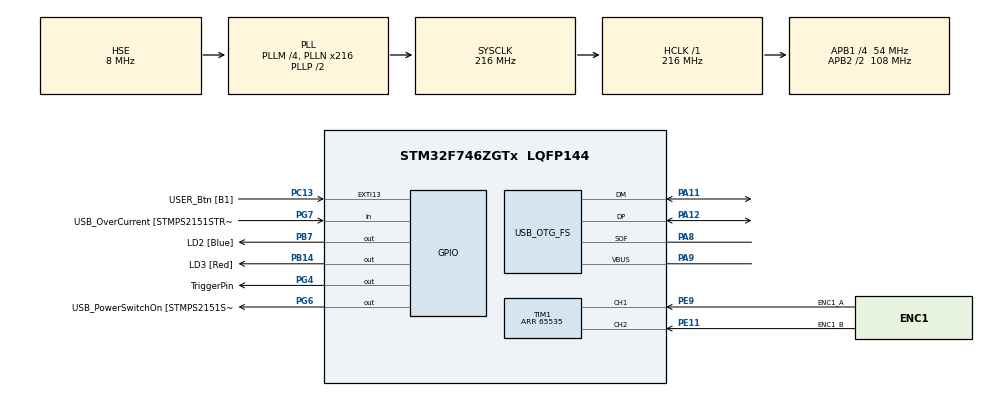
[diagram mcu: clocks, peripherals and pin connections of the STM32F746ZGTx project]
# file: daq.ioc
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Mcu.Family=STM32F7
Mcu.Name=STM32F746ZGTx
Mcu.Package=LQFP144
NVIC.OTG_FS_IRQn=true\:0\:0\:false\:false\:true\:false\:true
NVIC.PriorityGroup=NVIC_PRIORITYGROUP_4
NVIC.TIM1_UP_TIM10_IRQn=true\:0\:0\:false\:false\:true\:true\:true
NVIC.TIM2_IRQn=true\:0\:0\:false\:false\:true\:true\:true
PA1.GPIO_Label=RMII_REF_CLK [LAN8742A-CZ-TR_REFCLK0]
PA1.Signal=ETH_REF_CLK
PA10.GPIO_Label=USB_ID
PA10.Signal=USB_OTG_FS_ID
PA11.GPIO_Mode=GPIO_MODE_AF_PP
PA11.GPIO_PuPd=GPIO_NOPULL
PA11.GPIO_Speed=GPIO_SPEED_FREQ_VERY_HIGH
PA11.Mode=Device_Only
PA11.Signal=USB_OTG_FS_DM
PA12.GPIO_Mode=GPIO_MODE_AF_PP
PA12.GPIO_PuPd=GPIO_NOPULL
PA12.GPIO_Speed=GPIO_SPEED_FREQ_VERY_HIGH
PA12.Mode=Device_Only
PA12.Signal=USB_OTG_FS_DP
PA13.GPIO_Label=TMS
PA13.Mode=Serial_Wire
PA13.Signal=SYS_JTMS-SWDIO
PA14.GPIO_Label=TCK
PA14.Mode=Serial_Wire
PA14.Signal=SYS_JTCK-SWCLK
PA2.GPIO_Label=RMII_MDIO [LAN8742A-CZ-TR_MDIO]
PA2.Signal=ETH_MDIO
PA7.GPIO_Label=RMII_CRS_DV [LAN8742A-CZ-TR_CRS_DV]
PA7.Signal=ETH_CRS_DV
PA8.GPIO_Mode=GPIO_MODE_AF_PP
PA8.GPIO_PuPd=GPIO_NOPULL
PA8.GPIO_Speed=GPIO_SPEED_FREQ_VERY_HIGH
PA8.Mode=Activate_SOF_FS
PA8.Signal=USB_OTG_FS_SOF
PA9.GPIO_Mode=GPIO_MODE_INPUT
PA9.GPIO_PuPd=GPIO_NOPULL
PA9.Mode=Activate_VBUS
PA9.Signal=USB_OTG_FS_VBUS
PB13.GPIO_Label=RMII_TXD1 [LAN8742A-CZ-TR_TXD1]
PB13.Signal=ETH_TXD1
PB14.GPIO_Label=LD3 [Red]
PB14.Signal=GPIO_Output
PB3.GPIO_Label=SW0
PB3.Signal=SYS_JTDO-SWO
PB7.GPIO_Label=LD2 [Blue]
PB7.Signal=GPIO_Output
PC1.GPIO_Label=RMII_MDC [LAN8742A-CZ-TR_MDC]
PC1.Signal=ETH_MDC
PC13.GPIO_Label=USER_Btn [B1]
PC13.Signal=GPXTI13
PC14/OSC32_IN.Mode=LSE-External-Oscillator
PC14/OSC32_IN.Signal=RCC_OSC32_IN
PC15/OSC32_OUT.Mode=LSE-External-Oscillator
PC15/OSC32_OUT.Signal=RCC_OSC32_OUT
PC4.GPIO_Label=RMII_RXD0 [LAN8742A-CZ-TR_RXD0]
PC4.Signal=ETH_RXD0
PC5.GPIO_Label=RMII_RXD1 [LAN8742A-CZ-TR_RXD1]
PC5.Signal=ETH_RXD1
PD8.GPIO_Label=STLK_RX [STM32F103CBT6_PA3]
PD8.Signal=USART3_TX
PD9.GPIO_Label=STLK_TX [STM32F103CBT6_PA2]
PD9.Signal=USART3_RX
PE11.GPIO_Label=ENC1_B
PE11.Signal=S_TIM1_CH2
PE9.GPIO_Label=ENC1_A
PE9.Signal=S_TIM1_CH1
PG11.GPIO_Label=RMII_TX_EN [LAN8742A-CZ-TR_TXEN]
PG11.Signal=ETH_TX_EN
PG13.GPIO_Label=RMII_TXD0 [LAN8742A-CZ-TR_TXD0]
PG13.Signal=ETH_TXD0
PG4.GPIO_Label=TriggerPin
PG4.Signal=GPIO_Output
PG6.GPIO_Label=USB_PowerSwitchOn [STMPS2151STR_EN]
PG6.Signal=GPIO_Output
PG7.GPIO_Label=USB_OverCurrent [STMPS2151STR_FAULT]
PG7.Signal=GPIO_Input
PH0/OSC_IN.GPIO_Label=MCO [STM32F103CBT6_PA8]
PH0/OSC_IN.Mode=HSE-External-Clock-Source
PH0/OSC_IN.Signal=RCC_OSC_IN
PH1/OSC_OUT.Mode=HSE-External-Clock-Source
PH1/OSC_OUT.Signal=RCC_OSC_OUT
ProjectManager.HeapSize=0x1000
ProjectManager.StackSize=0x400
ProjectManager.TargetToolchain=MDK-ARM V5
RCC.48MHZClocksFreq_Value=24000000
RCC.AHBFreq_Value=216000000
RCC.APB1CLKDivider=RCC_HCLK_DIV4
RCC.APB1Freq_Value=54000000
RCC.APB1TimFreq_Value=108000000
RCC.APB2CLKDivider=RCC_HCLK_DIV2
RCC.APB2Freq_Value=108000000
RCC.APB2TimFreq_Value=216000000
RCC.CortexFreq_Value=216000000
RCC.HCLKFreq_Value=216000000
RCC.HSE_VALUE=8000000
RCC.HSI_VALUE=16000000
RCC.PLLM=4
RCC.PLLMUL=RCC_PLL_MUL9
RCC.PLLN=216
RCC.PLLQ=9
RCC.PRESCALERUSB=RCC_USBCLKSOURCE_PLL_DIV1_5
RCC.SYSCLKFreq_VALUE=216000000
RCC.SYSCLKSource=RCC_SYSCLKSOURCE_PLLCLK
RCC.SYSCLKSourceVirtual=RCC_SYSCLKSOURCE_PLLCLK
RCC.USBFreq_Value=48000000
RCC.VCOOutputFreq_Value=432000000
SH.S_TIM1_CH1.0=TIM1_CH1,Encoder_Interface
SH.S_TIM1_CH2.0=TIM1_CH2,Encoder_Interface
TIM1.EncoderMode=TIM_ENCODERMODE_TI12
TIM1.Period=65535
TIM2.Period=999
TIM2.Prescaler=215
USB_DEVICE.CLASS_NAME_FS=CDC
USB_DEVICE.PRODUCT_STRING_CDC_FS=STM32 Virtual ComPort
USB_DEVICE.VirtualMode-CDC_FS=Cdc
USB_DEVICE.VirtualModeFS=Cdc_FS
USB_OTG_FS.VirtualMode=Device_Only
VP_TIM2_VS_ClockSourceINT.Mode=Internal
VP_USB_DEVICE_VS_USB_DEVICE_CDC_FS.Mode=CDC_FS
board=NUCLEO-F746ZG

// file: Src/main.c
/* USER CODE BEGIN Header */
/**
  ******************************************************************************
  * @file           : main.c
  * @brief          : Main program body
  ******************************************************************************
  * @attention
  *
  * <h2><center>&copy; Copyright (c) 2021 STMicroelectronics.
  * All rights reserved.</center></h2>
  *
  * This software component is licensed by ST under BSD 3-Clause license,
  * the "License"; You may not use this file except in compliance with the
  * License. You may obtain a copy of the License at:
  *                        opensource.org/licenses/BSD-3-Clause
  *
  ******************************************************************************
  */
/* USER CODE END Header */
#include "main.h"
#include "usb_device.h"

/* USER CODE BEGIN Includes */
#include "stm32f7xx_it.h"
#include "usbd_cdc_if.h"
#define TRIGGER_WIDTH 5

/* USER CODE END Includes */

TIM_HandleTypeDef htim1;
TIM_HandleTypeDef htim2;

/* USER CODE BEGIN PV */
	long ENC=0;
	int	a=0, ts;
//extern long enc_cnt4;
	uint8_t enc_read() ,i=0;
	struct
	{
	uint8_t buffer[16];
	}data;

//volatile uint16_t newDataFlag=0;
//volatile uint16_t cdcPortOpenedFlag=0;
//long unsigned int interrupt_num=0;
//long unsigned int rc_tmp_ts[8];
//long unsigned int rc_dt[8];
//long unsigned int camera_ts;
//extern unsigned long int tim4_index;
//volatile float motor_cmd=0;
//volatile long int step_counter=0;
//unsigned int trigger_timeout=0;
//unsigned int camera_timeout_val=49, usb_transmit_timeout_val=99; //20 Hz camera and 100 Hz IMU default rates
//int usb_transmit_counter = 0;
//int camera_sync_pulse_counter = 0;
//enum{MOOD_50HZ,MOOD_40HZ,MOOD_20HZ};
//volatile int32_t encoder_index = 0;
//int32_t encoder_reading = 0;

//	struct DPL{
//	uint32_t cameraTimeStamp;
//	int32_t stepCounter;
//};
//union{
//	struct DPL Data;
//	uint8_t buffer[24+8 +4+32]; // 8 is added to acount for the Time stamps
//	}USB_Packet;

/* USER CODE END PV */

void SystemClock_Config(void);
static void MX_GPIO_Init(void);
static void MX_TIM1_Init(void);
static void MX_TIM2_Init(void);

/* USER CODE BEGIN 0 */

////void HAL_TIM_PeriodElapsedCallback(TIM_HandleTypeDef *htim)
////{
////		if(htim->Instance == TIM2)  // if the source is TIM2
////		{
////			HAL_GPIO_TogglePin(TriggerPin_GPIO_Port, TriggerPin_Pin);
////		}
////}
//unsigned int getMicros(void)
//{
//	return tim4_index*1000+(unsigned int)TIM4->CNT;
//}

//void pulse_trigger(int width,int trigger)
//{
//	int static old_time;
//	if((HAL_GetTick()-old_time)<=width)
//		HAL_GPIO_WritePin(GPIOG,GPIO_PIN_4,GPIO_PIN_SET);
//	else
//		HAL_GPIO_WritePin(GPIOG,GPIO_PIN_4,GPIO_PIN_RESET);
//	if(trigger)
//		old_time=HAL_GetTick();
//}

/* USER CODE END 0 */

int main(void)
{

  /* MCU Configuration--------------------------------------------------------*/

  /* Reset of all peripherals, Initializes the Flash interface and the Systick. */
  HAL_Init();

  /* Configure the system clock */
  SystemClock_Config();

  /* Initialize all configured peripherals */
  MX_GPIO_Init();
  MX_TIM1_Init();
  MX_TIM2_Init();
  MX_USB_DEVICE_Init();
  /* USER CODE BEGIN 2 */

	HAL_TIM_Base_Start_IT(&htim1);
	HAL_TIM_Base_Start_IT(&htim2);

  /* USER CODE END 2 */

  /* Infinite loop */
  /* USER CODE BEGIN WHILE */

  while (1)
  {
		ts = a + 1;
		ENC = enc_read();
		data.buffer[0] = ENC;
		data.buffer[1] = ts;
//	  CDC_Transmit_FS(data.buffer, sizeof(data.buffer));
	  CDC_Transmit_FS(data.buffer, sizeof(data.buffer));

		HAL_GPIO_WritePin(GPIOB,GPIO_PIN_7,0);
		HAL_GPIO_WritePin(GPIOB,GPIO_PIN_14,1);
		HAL_Delay(200);
		HAL_GPIO_WritePin(GPIOB,GPIO_PIN_7,1);
		HAL_GPIO_WritePin(GPIOB,GPIO_PIN_14,0);
		HAL_Delay(200);
    /* USER CODE END WHILE */

  }
}

void SystemClock_Config(void)
{
  RCC_OscInitTypeDef RCC_OscInitStruct = {0};
  RCC_ClkInitTypeDef RCC_ClkInitStruct = {0};
  RCC_PeriphCLKInitTypeDef PeriphClkInitStruct = {0};

  /** Configure LSE Drive Capability
  */
  HAL_PWR_EnableBkUpAccess();
  /** Configure the main internal regulator output voltage
  */
  __HAL_RCC_PWR_CLK_ENABLE();
  __HAL_PWR_VOLTAGESCALING_CONFIG(PWR_REGULATOR_VOLTAGE_SCALE1);
  /** Initializes the RCC Oscillators according to the specified parameters
  * in the RCC_OscInitTypeDef structure.
  */
  RCC_OscInitStruct.OscillatorType = RCC_OSCILLATORTYPE_HSE;
  RCC_OscInitStruct.HSEState = RCC_HSE_BYPASS;
  RCC_OscInitStruct.PLL.PLLState = RCC_PLL_ON;
  RCC_OscInitStruct.PLL.PLLSource = RCC_PLLSOURCE_HSE;
  RCC_OscInitStruct.PLL.PLLM = 4;
  RCC_OscInitStruct.PLL.PLLN = 216;
  RCC_OscInitStruct.PLL.PLLP = RCC_PLLP_DIV2;
  RCC_OscInitStruct.PLL.PLLQ = 9;
  if (HAL_RCC_OscConfig(&RCC_OscInitStruct) != HAL_OK)
  {
    Error_Handler();
  }
  /** Activate the Over-Drive mode
  */
  if (HAL_PWREx_EnableOverDrive() != HAL_OK)
  {
    Error_Handler();
  }
  /** Initializes the CPU, AHB and APB buses clocks
  */
  RCC_ClkInitStruct.ClockType = RCC_CLOCKTYPE_HCLK|RCC_CLOCKTYPE_SYSCLK
                              |RCC_CLOCKTYPE_PCLK1|RCC_CLOCKTYPE_PCLK2;
  RCC_ClkInitStruct.SYSCLKSource = RCC_SYSCLKSOURCE_PLLCLK;
  RCC_ClkInitStruct.AHBCLKDivider = RCC_SYSCLK_DIV1;
  RCC_ClkInitStruct.APB1CLKDivider = RCC_HCLK_DIV4;
  RCC_ClkInitStruct.APB2CLKDivider = RCC_HCLK_DIV2;

  if (HAL_RCC_ClockConfig(&RCC_ClkInitStruct, FLASH_LATENCY_7) != HAL_OK)
  {
    Error_Handler();
  }
  PeriphClkInitStruct.PeriphClockSelection = RCC_PERIPHCLK_CLK48;
  PeriphClkInitStruct.Clk48ClockSelection = RCC_CLK48SOURCE_PLL;
  if (HAL_RCCEx_PeriphCLKConfig(&PeriphClkInitStruct) != HAL_OK)
  {
    Error_Handler();
  }
}

static void MX_TIM1_Init(void)
{

  TIM_Encoder_InitTypeDef sConfig = {0};
  TIM_MasterConfigTypeDef sMasterConfig = {0};

  htim1.Instance = TIM1;
  htim1.Init.Prescaler = 0;
  htim1.Init.CounterMode = TIM_COUNTERMODE_UP;
  htim1.Init.Period = 65535;
  htim1.Init.ClockDivision = TIM_CLOCKDIVISION_DIV1;
  htim1.Init.RepetitionCounter = 0;
  htim1.Init.AutoReloadPreload = TIM_AUTORELOAD_PRELOAD_DISABLE;
  sConfig.EncoderMode = TIM_ENCODERMODE_TI12;
  sConfig.IC1Polarity = TIM_ICPOLARITY_RISING;
  sConfig.IC1Selection = TIM_ICSELECTION_DIRECTTI;
  sConfig.IC1Prescaler = TIM_ICPSC_DIV1;
  sConfig.IC1Filter = 0;
  sConfig.IC2Polarity = TIM_ICPOLARITY_RISING;
  sConfig.IC2Selection = TIM_ICSELECTION_DIRECTTI;
  sConfig.IC2Prescaler = TIM_ICPSC_DIV1;
  sConfig.IC2Filter = 0;
  if (HAL_TIM_Encoder_Init(&htim1, &sConfig) != HAL_OK)
  {
    Error_Handler();
  }
  sMasterConfig.MasterOutputTrigger = TIM_TRGO_RESET;
  sMasterConfig.MasterOutputTrigger2 = TIM_TRGO2_RESET;
  sMasterConfig.MasterSlaveMode = TIM_MASTERSLAVEMODE_DISABLE;
  if (HAL_TIMEx_MasterConfigSynchronization(&htim1, &sMasterConfig) != HAL_OK)
  {
    Error_Handler();
  }

}

static void MX_TIM2_Init(void)
{

  TIM_ClockConfigTypeDef sClockSourceConfig = {0};
  TIM_MasterConfigTypeDef sMasterConfig = {0};

  htim2.Instance = TIM2;
  htim2.Init.Prescaler = 215;
  htim2.Init.CounterMode = TIM_COUNTERMODE_UP;
  htim2.Init.Period = 999;
  htim2.Init.ClockDivision = TIM_CLOCKDIVISION_DIV1;
  htim2.Init.AutoReloadPreload = TIM_AUTORELOAD_PRELOAD_DISABLE;
  if (HAL_TIM_Base_Init(&htim2) != HAL_OK)
  {
    Error_Handler();
  }
  sClockSourceConfig.ClockSource = TIM_CLOCKSOURCE_INTERNAL;
  if (HAL_TIM_ConfigClockSource(&htim2, &sClockSourceConfig) != HAL_OK)
  {
    Error_Handler();
  }
  sMasterConfig.MasterOutputTrigger = TIM_TRGO_RESET;
  sMasterConfig.MasterSlaveMode = TIM_MASTERSLAVEMODE_DISABLE;
  if (HAL_TIMEx_MasterConfigSynchronization(&htim2, &sMasterConfig) != HAL_OK)
  {
    Error_Handler();
  }

}

static void MX_GPIO_Init(void)
{
  GPIO_InitTypeDef GPIO_InitStruct = {0};

  /* GPIO Ports Clock Enable */
  __HAL_RCC_GPIOC_CLK_ENABLE();
  __HAL_RCC_GPIOH_CLK_ENABLE();
  __HAL_RCC_GPIOA_CLK_ENABLE();
  __HAL_RCC_GPIOE_CLK_ENABLE();
  __HAL_RCC_GPIOB_CLK_ENABLE();
  __HAL_RCC_GPIOD_CLK_ENABLE();
  __HAL_RCC_GPIOG_CLK_ENABLE();

  /*Configure GPIO pin Output Level */
  HAL_GPIO_WritePin(GPIOB, LD3_Pin|LD2_Pin, GPIO_PIN_RESET);

  /*Configure GPIO pin Output Level */
  HAL_GPIO_WritePin(GPIOG, TriggerPin_Pin|USB_PowerSwitchOn_Pin, GPIO_PIN_RESET);

  /*Configure GPIO pin : USER_Btn_Pin */
  GPIO_InitStruct.Pin = USER_Btn_Pin;
  GPIO_InitStruct.Mode = GPIO_MODE_IT_RISING;
  GPIO_InitStruct.Pull = GPIO_NOPULL;
  HAL_GPIO_Init(USER_Btn_GPIO_Port, &GPIO_InitStruct);

  /*Configure GPIO pins : RMII_MDC_Pin RMII_RXD0_Pin RMII_RXD1_Pin */
  GPIO_InitStruct.Pin = RMII_MDC_Pin|RMII_RXD0_Pin|RMII_RXD1_Pin;
  GPIO_InitStruct.Mode = GPIO_MODE_AF_PP;
  GPIO_InitStruct.Pull = GPIO_NOPULL;
  GPIO_InitStruct.Speed = GPIO_SPEED_FREQ_VERY_HIGH;
  GPIO_InitStruct.Alternate = GPIO_AF11_ETH;
  HAL_GPIO_Init(GPIOC, &GPIO_InitStruct);

  /*Configure GPIO pins : RMII_REF_CLK_Pin RMII_MDIO_Pin RMII_CRS_DV_Pin */
  GPIO_InitStruct.Pin = RMII_REF_CLK_Pin|RMII_MDIO_Pin|RMII_CRS_DV_Pin;
  GPIO_InitStruct.Mode = GPIO_MODE_AF_PP;
  GPIO_InitStruct.Pull = GPIO_NOPULL;
  GPIO_InitStruct.Speed = GPIO_SPEED_FREQ_VERY_HIGH;
  GPIO_InitStruct.Alternate = GPIO_AF11_ETH;
  HAL_GPIO_Init(GPIOA, &GPIO_InitStruct);

  /*Configure GPIO pin : RMII_TXD1_Pin */
  GPIO_InitStruct.Pin = RMII_TXD1_Pin;
  GPIO_InitStruct.Mode = GPIO_MODE_AF_PP;
  GPIO_InitStruct.Pull = GPIO_NOPULL;
  GPIO_InitStruct.Speed = GPIO_SPEED_FREQ_VERY_HIGH;
  GPIO_InitStruct.Alternate = GPIO_AF11_ETH;
  HAL_GPIO_Init(RMII_TXD1_GPIO_Port, &GPIO_InitStruct);

  /*Configure GPIO pins : LD3_Pin LD2_Pin */
  GPIO_InitStruct.Pin = LD3_Pin|LD2_Pin;
  GPIO_InitStruct.Mode = GPIO_MODE_OUTPUT_PP;
  GPIO_InitStruct.Pull = GPIO_NOPULL;
  GPIO_InitStruct.Speed = GPIO_SPEED_FREQ_LOW;
  HAL_GPIO_Init(GPIOB, &GPIO_InitStruct);

  /*Configure GPIO pins : STLK_RX_Pin STLK_TX_Pin */
  GPIO_InitStruct.Pin = STLK_RX_Pin|STLK_TX_Pin;
  GPIO_InitStruct.Mode = GPIO_MODE_AF_PP;
  GPIO_InitStruct.Pull = GPIO_NOPULL;
  GPIO_InitStruct.Speed = GPIO_SPEED_FREQ_VERY_HIGH;
  GPIO_InitStruct.Alternate = GPIO_AF7_USART3;
  HAL_GPIO_Init(GPIOD, &GPIO_InitStruct);

  /*Configure GPIO pins : TriggerPin_Pin USB_PowerSwitchOn_Pin */
  GPIO_InitStruct.Pin = TriggerPin_Pin|USB_PowerSwitchOn_Pin;
  GPIO_InitStruct.Mode = GPIO_MODE_OUTPUT_PP;
  GPIO_InitStruct.Pull = GPIO_NOPULL;
  GPIO_InitStruct.Speed = GPIO_SPEED_FREQ_LOW;
  HAL_GPIO_Init(GPIOG, &GPIO_InitStruct);

  /*Configure GPIO pin : USB_OverCurrent_Pin */
  GPIO_InitStruct.Pin = USB_OverCurrent_Pin;
  GPIO_InitStruct.Mode = GPIO_MODE_INPUT;
  GPIO_InitStruct.Pull = GPIO_NOPULL;
  HAL_GPIO_Init(USB_OverCurrent_GPIO_Port, &GPIO_InitStruct);

  /*Configure GPIO pins : RMII_TX_EN_Pin RMII_TXD0_Pin */
  GPIO_InitStruct.Pin = RMII_TX_EN_Pin|RMII_TXD0_Pin;
  GPIO_InitStruct.Mode = GPIO_MODE_AF_PP;
  GPIO_InitStruct.Pull = GPIO_NOPULL;
  GPIO_InitStruct.Speed = GPIO_SPEED_FREQ_VERY_HIGH;
  GPIO_InitStruct.Alternate = GPIO_AF11_ETH;
  HAL_GPIO_Init(GPIOG, &GPIO_InitStruct);

}

void Error_Handler(void)
{
}

/************************ (C) COPYRIGHT STMicroelectronics *****END OF FILE****/
